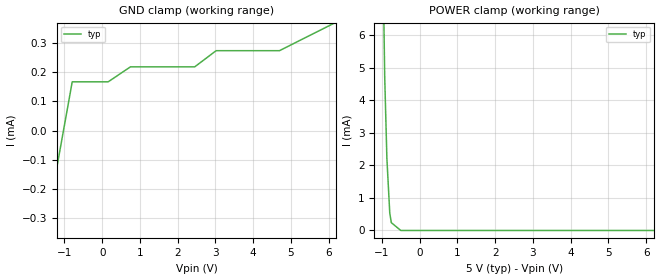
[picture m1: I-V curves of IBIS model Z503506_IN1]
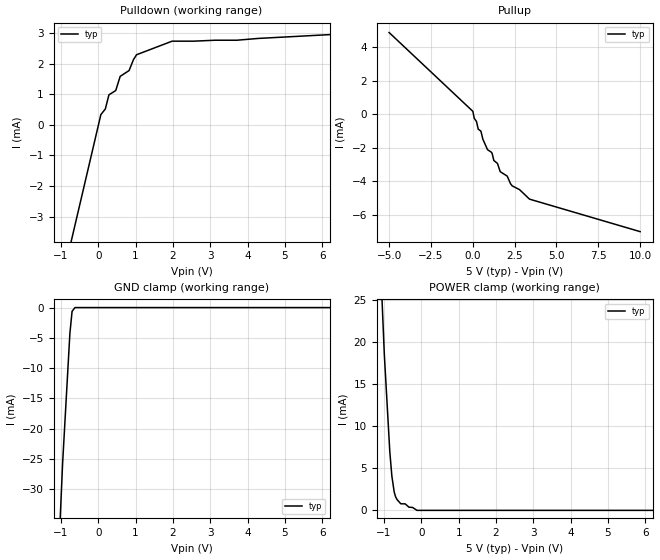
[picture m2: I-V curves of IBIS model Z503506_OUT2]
| YOU ARE ONLY AUTHORIZED TO USE THIS SOFTWARE
| ACCORDING TO LICENSOR'S LICENSE RESTRICTIONS.
[IBIS Ver] 3.1
[File Name] mc14025bcl.ibs
[File Rev] 2.0
[Source] Measured and created by ICX Technology
[Date] Friday 7/14/00 9:07:52 AM
[Copyright]
| (C) COPYRIGHT 1993-2000
| MENTOR GRAPHICS CORPORATION
| ICX STANDARD LIBRARY, ICX PROJECT MODELING,
| ICX CUSTOM MODELING, ICX VENDOR MODEL
| ALL RIGHTS RESERVED.
| THE FOLLOWING ARE TRADEMARKS OR SERVICE MARKS OF
| MENTOR GRAPHICS CORPORATION:ICX (R), ICX STANDARD
| LIBRARY(R), ICX PROJECT MODELING(R), ICX CUSTOM
| MODELING(R), qualityIBIS(TM), MODELVIEWER(TM),
| AND MODELEDITOR(TM)
| ALL COPIES OF SOFTWARE, INCLUDING BUT NOT LIMITED TO
| ANY MODIFICATIONS, ENHANCEMENTS OR DERIVATIVE WORKS,
| MUST CONTAIN ALL MENTOR GRAPHICS CORPORATION'S
| NOTICES AND LEGENDS, INCLUDING THOSE EMBEDDED IN
| SOFTWARE AND THOSE AFFIXED TO SOFTWARE MEDIUM
| AND CONTAINER, AS RECEIVED FROM MENTOR GRAPHICS
| CORPORATION.
|  ZAP Model Builder 2.7
[Component] MC14025BCL
[Manufacturer] OnSemiconductor
[Package]
| variable   typ   min   max
R_pkg  .21ohms NA NA
L_pkg  4.543nH NA NA
C_pkg  1.8pF NA NA
[Pin] signal_name  model_name  R_pin  L_pin C_pin
1 IN1A Z503506_IN1 .22 6.757n 2.434p
2 IN2A Z503506_IN1 .212 4.757n 1.941p
3 IN1B Z503506_IN1 .204 3.257n 1.448p
4 IN2B Z503506_IN1 .196 2.257n .955p
5 IN3B Z503506_IN1 .204 3.257n 1.448p
6 OUTB Z503506_OUT2 .212 4.757n 1.941p
7 VSS POWER .22 6.757n 2.434p
8 IN3A Z503506_IN1 .22 6.757n 2.434p
9 OUTA Z503506_OUT2 .212 4.757n 1.941p
10 OUTC Z503506_OUT2 .204 3.257n 1.448p
11 IN1C Z503506_IN1 .196 2.257n .955p
12 IN2C Z503506_IN1 .204 3.257n 1.448p
13 IN3 Z503506_IN1 .212 4.757n 1.941p
14 VDD POWER .22 6.757n 2.434p
| Models and submodels in the file (2): Z503506_IN1 (Input), Z503506_OUT2 (Output)
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| (C) COPYRIGHT 1993-2000
| MENTOR GRAPHICS CORPORATION
| ICX STANDARD LIBRARY, ICX PROJECT MODELING,
| ICX CUSTOM MODELING, ICX VENDOR MODEL
| ALL RIGHTS RESERVED.
| THE FOLLOWING ARE TRADEMARKS OR SERVICE MARKS OF
| MENTOR GRAPHICS CORPORATION:ICX (R), ICX STANDARD
| LIBRARY(R), ICX PROJECT MODELING(R), ICX CUSTOM
| MODELING(R), qualityIBIS(TM), MODELVIEWER(TM),
| AND MODELEDITOR(TM)
| ALL COPIES OF SOFTWARE, INCLUDING BUT NOT LIMITED TO
| ANY MODIFICATIONS, ENHANCEMENTS OR DERIVATIVE WORKS,
| MUST CONTAIN ALL MENTOR GRAPHICS CORPORATION'S
| NOTICES AND LEGENDS, INCLUDING THOSE EMBEDDED IN
| SOFTWARE AND THOSE AFFIXED TO SOFTWARE MEDIUM
| AND CONTAINER, AS RECEIVED FROM MENTOR GRAPHICS
| CORPORATION.
| Model Application Version 1.89 2/18/99.
[Model] Z503506_IN1
Model_type Input
Vinl = 1.500V
Vinh = 3.500V
C_comp 4.000pF NA NA
| variable typ   min   max
[Voltage Range] 5.000V NA NA
[GND Clamp Reference] 0.000V NA NA
[POWER Clamp Reference] 5.000V NA NA
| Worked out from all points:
|   POWER clamp passes 1 mA (typ) near -0.81 V on its own axis
[GND Clamp]
-5V       -2.849mA   NA         NA
-794mV    166.2uA    NA         NA
159.2mV   166.2uA    NA         NA
748.1mV   217.3uA    NA         NA
2.451V    217.3uA    NA         NA
3.018V    272.4uA    NA         NA
4.695V    272.4uA    NA         NA
10V       615.9uA    NA         NA
[POWER Clamp]
-5V       845.8mA    NA         NA
-1.225V   43.76mA    NA         NA
-1.072V   18.72mA    NA         NA
-1.002V   10.62mA    NA         NA
-927mV    4.727mA    NA         NA
-869mV    2.208mA    NA         NA
-793mV    535.3uA    NA         NA
-752mV    240.4uA    NA         NA
-501.3mV  0A         NA         NA
10V       0A         NA         NA
| (C) COPYRIGHT 1993-2000
| MENTOR GRAPHICS CORPORATION
| ICX STANDARD LIBRARY, ICX PROJECT MODELING,
| ICX CUSTOM MODELING, ICX VENDOR MODEL
| ALL RIGHTS RESERVED.
| THE FOLLOWING ARE TRADEMARKS OR SERVICE MARKS OF
| MENTOR GRAPHICS CORPORATION:ICX (R), ICX STANDARD
| LIBRARY(R), ICX PROJECT MODELING(R), ICX CUSTOM
| MODELING(R), qualityIBIS(TM), MODELVIEWER(TM),
| AND MODELEDITOR(TM)
| ALL COPIES OF SOFTWARE, INCLUDING BUT NOT LIMITED TO
| ANY MODIFICATIONS, ENHANCEMENTS OR DERIVATIVE WORKS,
| MUST CONTAIN ALL MENTOR GRAPHICS CORPORATION'S
| NOTICES AND LEGENDS, INCLUDING THOSE EMBEDDED IN
| SOFTWARE AND THOSE AFFIXED TO SOFTWARE MEDIUM
| AND CONTAINER, AS RECEIVED FROM MENTOR GRAPHICS
| CORPORATION.
| Model Application Version 1.89 2/18/99.
[Model] Z503506_OUT2
Model_type Output
Vref=0.000V
Rref=500.0Mohms
Cref=50.00pF
Vmeas=2.500V
C_comp 8.000pF NA NA
| variable typ   min   max
[Voltage Range] 5.000V NA NA
[POWER Clamp Reference] 5.000V NA NA
[Pullup Reference] 5.000V NA NA
[Pulldown Reference] 0.000V NA NA
[GND Clamp Reference] 0.000V NA NA
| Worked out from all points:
|   slope of the pulldown table from 0 to 0.75 V, typ, clamps not added: 431 ohm
|   slope of the pullup table from 0 to 0.75 V, typ, clamps not added: 375 ohm
|   GND clamp passes 1 mA (typ) near -0.71 V on its own axis
|   POWER clamp passes 1 mA (typ) near -0.59 V on its own axis
[GND Clamp]
-5V       -744.8mA   NA         NA
-1.112V   -47.76mA   NA         NA
-957mV    -25.79mA   NA         NA
-761.8mV  -4.293mA   NA         NA
-703mV    -628.2uA   NA         NA
-624.9mV  0A         NA         NA
10V       0A         NA         NA
[Pulldown]
-5V       -26.1mA    NA         NA
68.13mV   332.2uA    NA         NA
188.6mV   518.4uA    NA         NA
284.5mV   980.6uA    NA         NA
467mV     1.121mA    NA         NA
586.3mV   1.585mA    NA         NA
825mV     1.775mA    NA         NA
941.9mV   2.131mA    NA         NA
1.025V    2.292mA    NA         NA
1.978V    2.736mA    NA         NA
3.714V    2.767mA    NA         NA
10V       3.197mA    NA         NA
[Pullup]
-5V       4.889mA    NA         NA
5mV       182.2uA    NA         NA
323mV     -878.5uA   NA         NA
484mV     -997.6uA   NA         NA
879mV     -2.105mA   NA         NA
1.123V    -2.267mA   NA         NA
1.257V    -2.751mA   NA         NA
1.637V    -3.419mA   NA         NA
2.055V    -3.683mA   NA         NA
2.351V    -4.266mA   NA         NA
3.389V    -5.06mA    NA         NA
10V       -7.001mA   NA         NA
[POWER Clamp]
-5V       512.6mA    NA         NA
-1.19V    39.47mA    NA         NA
-992mV    18.57mA    NA         NA
-845mV    6.965mA    NA         NA
-790mV    4.086mA    NA         NA
-728mV    2.2mA      NA         NA
-651mV    1.286mA    NA         NA
-551mV    784uA      NA         NA
-434mV    775uA      NA         NA
-332mV    379.5uA    NA         NA
-117mV    0A         NA         NA
10V       0A         NA         NA
[Ramp]
| variable typ min max
dV/dt_r 2.573/25.60n NA NA
dV/dt_f 2.573/18.17n NA NA
R_load = 2.500kOhms
